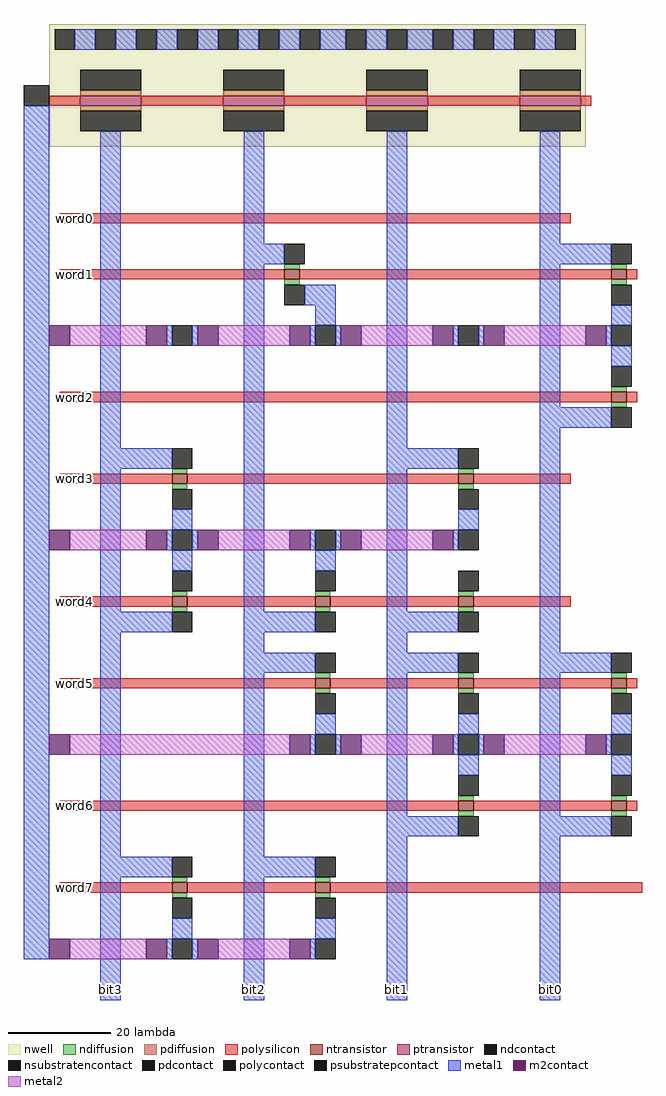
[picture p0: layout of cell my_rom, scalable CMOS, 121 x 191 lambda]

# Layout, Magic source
magic
tech scmos
<< nwell >>
rect -31 -1 74 23
<< polysilicon >>
rect -31 7 -25 9
rect -13 7 3 9
rect 15 7 31 9
rect 43 7 61 9
rect 73 7 75 9
rect -29 -16 71 -14
rect -29 -27 15 -25
rect 18 -27 79 -25
rect 82 -27 84 -25
rect -29 -51 79 -49
rect 82 -51 84 -49
rect -29 -67 -7 -65
rect -4 -67 49 -65
rect 52 -67 71 -65
rect -29 -91 -7 -89
rect -4 -91 21 -89
rect 24 -91 49 -89
rect 52 -91 71 -89
rect -29 -107 21 -105
rect 24 -107 49 -105
rect 52 -107 79 -105
rect 82 -107 84 -105
rect -29 -131 49 -129
rect 52 -131 79 -129
rect 82 -131 84 -129
rect -29 -147 -7 -145
rect -4 -147 21 -145
rect 24 -147 85 -145
<< ndiffusion >>
rect 15 -25 18 -24
rect 79 -25 82 -24
rect 15 -28 18 -27
rect 79 -28 82 -27
rect 79 -49 82 -48
rect 79 -52 82 -51
rect -7 -65 -4 -64
rect 49 -65 52 -64
rect -7 -68 -4 -67
rect 49 -68 52 -67
rect -7 -89 -4 -88
rect 21 -89 24 -88
rect 49 -89 52 -88
rect -7 -92 -4 -91
rect 21 -92 24 -91
rect 49 -92 52 -91
rect 21 -105 24 -104
rect 49 -105 52 -104
rect 79 -105 82 -104
rect 21 -108 24 -107
rect 49 -108 52 -107
rect 79 -108 82 -107
rect 49 -129 52 -128
rect 79 -129 82 -128
rect 49 -132 52 -131
rect 79 -132 82 -131
rect -7 -145 -4 -144
rect 21 -145 24 -144
rect -7 -148 -4 -147
rect 21 -148 24 -147
<< pdiffusion >>
rect -25 9 -13 10
rect 3 9 15 10
rect 31 9 43 10
rect 61 9 73 10
rect -25 6 -13 7
rect 3 6 15 7
rect 31 6 43 7
rect 61 6 73 7
<< metal1 >>
rect -26 18 -22 22
rect -18 18 -14 22
rect -10 18 -6 22
rect -2 18 2 22
rect 6 18 10 22
rect 14 18 18 22
rect 22 18 27 22
rect 31 18 35 22
rect 39 18 44 22
rect 48 18 52 22
rect 56 18 60 22
rect 64 18 68 22
rect -36 -160 -31 7
rect -21 -60 -17 2
rect 7 -20 11 2
rect 7 -24 15 -20
rect -8 -40 -7 -36
rect -3 -40 -2 -36
rect -21 -64 -7 -60
rect -21 -92 -17 -64
rect -7 -76 -3 -72
rect -8 -80 -7 -76
rect -3 -80 -2 -76
rect -7 -84 -3 -80
rect 7 -92 11 -24
rect 19 -32 25 -28
rect 21 -36 25 -32
rect 20 -40 21 -36
rect 25 -40 26 -36
rect 35 -60 39 2
rect 65 -20 69 2
rect 65 -24 79 -20
rect 48 -40 49 -36
rect 53 -40 54 -36
rect 65 -52 69 -24
rect 79 -36 83 -32
rect 78 -40 79 -36
rect 79 -44 83 -40
rect 65 -56 79 -52
rect 35 -64 49 -60
rect 20 -80 21 -76
rect 25 -80 26 -76
rect 21 -84 25 -80
rect 35 -92 39 -64
rect 49 -76 53 -72
rect 48 -80 49 -76
rect -21 -96 -7 -92
rect 7 -96 21 -92
rect 35 -96 49 -92
rect -21 -140 -17 -96
rect 7 -100 11 -96
rect 35 -100 39 -96
rect 65 -100 69 -56
rect 7 -104 21 -100
rect 35 -104 49 -100
rect 65 -104 79 -100
rect 7 -140 11 -104
rect 21 -116 25 -112
rect 20 -120 21 -116
rect 25 -120 26 -116
rect 35 -132 39 -104
rect 49 -116 53 -112
rect 48 -120 49 -116
rect 53 -120 54 -116
rect 49 -124 53 -120
rect 65 -132 69 -104
rect 79 -116 83 -112
rect 78 -120 79 -116
rect 79 -124 83 -120
rect 35 -136 49 -132
rect 65 -136 79 -132
rect -21 -144 -7 -140
rect 7 -144 21 -140
rect -21 -168 -17 -144
rect -7 -156 -3 -152
rect -8 -160 -7 -156
rect -3 -160 -2 -156
rect 7 -168 11 -144
rect 21 -156 25 -152
rect 20 -160 21 -156
rect 35 -168 39 -136
rect 65 -168 69 -136
<< metal2 >>
rect -27 -40 -12 -36
rect 2 -40 16 -36
rect 30 -40 44 -36
rect 58 -40 74 -36
rect -27 -80 -12 -76
rect 2 -80 16 -76
rect 30 -80 44 -76
rect -27 -120 16 -116
rect 30 -120 44 -116
rect 58 -120 74 -116
rect -27 -160 -12 -156
rect 2 -160 16 -156
<< ntransistor >>
rect 15 -27 18 -25
rect 79 -27 82 -25
rect 79 -51 82 -49
rect -7 -67 -4 -65
rect 49 -67 52 -65
rect -7 -91 -4 -89
rect 21 -91 24 -89
rect 49 -91 52 -89
rect 21 -107 24 -105
rect 49 -107 52 -105
rect 79 -107 82 -105
rect 49 -131 52 -129
rect 79 -131 82 -129
rect -7 -147 -4 -145
rect 21 -147 24 -145
<< ptransistor >>
rect -25 7 -13 9
rect 3 7 15 9
rect 31 7 43 9
rect 61 7 73 9
<< polycontact >>
rect -36 7 -31 11
<< ndcontact >>
rect 15 -24 19 -20
rect 79 -24 83 -20
rect 15 -32 19 -28
rect 79 -32 83 -28
rect 79 -48 83 -44
rect 79 -56 83 -52
rect -7 -64 -3 -60
rect 49 -64 53 -60
rect -7 -72 -3 -68
rect 49 -72 53 -68
rect -7 -88 -3 -84
rect 21 -88 25 -84
rect 49 -88 53 -84
rect -7 -96 -3 -92
rect 21 -96 25 -92
rect 49 -96 53 -92
rect 21 -104 25 -100
rect 49 -104 53 -100
rect 79 -104 83 -100
rect 21 -112 25 -108
rect 49 -112 53 -108
rect 79 -112 83 -108
rect 49 -128 53 -124
rect 79 -128 83 -124
rect 49 -136 53 -132
rect 79 -136 83 -132
rect -7 -144 -3 -140
rect 21 -144 25 -140
rect -7 -152 -3 -148
rect 21 -152 25 -148
<< pdcontact >>
rect -25 10 -13 14
rect 3 10 15 14
rect 31 10 43 14
rect 61 10 73 14
rect -25 2 -13 6
rect 3 2 15 6
rect 31 2 43 6
rect 61 2 73 6
<< m2contact >>
rect -31 -40 -27 -36
rect -12 -40 -8 -36
rect -2 -40 2 -36
rect -31 -80 -27 -76
rect -12 -80 -8 -76
rect -2 -80 2 -76
rect 16 -40 20 -36
rect 26 -40 30 -36
rect 44 -40 48 -36
rect 54 -40 58 -36
rect 74 -40 78 -36
rect 16 -80 20 -76
rect 26 -80 30 -76
rect 44 -80 48 -76
rect -31 -120 -27 -116
rect 16 -120 20 -116
rect 26 -120 30 -116
rect 44 -120 48 -116
rect 54 -120 58 -116
rect 74 -120 78 -116
rect -31 -160 -27 -156
rect -12 -160 -8 -156
rect -2 -160 2 -156
rect 16 -160 20 -156
<< psubstratepcontact >>
rect -7 -40 -3 -36
rect 21 -40 25 -36
rect 49 -40 53 -36
rect 79 -40 83 -36
rect -7 -80 -3 -76
rect 21 -80 25 -76
rect 49 -80 53 -76
rect 21 -120 25 -116
rect 49 -120 53 -116
rect 79 -120 83 -116
rect -7 -160 -3 -156
rect 21 -160 25 -156
<< nsubstratencontact >>
rect -30 18 -26 22
rect -22 18 -18 22
rect -14 18 -10 22
rect -6 18 -2 22
rect 2 18 6 22
rect 10 18 14 22
rect 18 18 22 22
rect 27 18 31 22
rect 35 18 39 22
rect 44 18 48 22
rect 52 18 56 22
rect 60 18 64 22
rect 68 18 72 22
<< labels >>
rlabel polysilicon -29 -16 -23 -14 0 word0
rlabel polysilicon -29 -27 -23 -25 0 word1
rlabel polysilicon -29 -51 -23 -49 0 word2
rlabel polysilicon -29 -67 -23 -65 0 word3
rlabel polysilicon -29 -91 -23 -89 0 word4
rlabel polysilicon -29 -107 -23 -105 0 word5
rlabel polysilicon -29 -131 -23 -129 0 word6
rlabel polysilicon -29 -147 -23 -145 0 word7
rlabel metal1 65 -168 69 -164 0 bit0
rlabel metal1 35 -168 39 -164 0 bit1
rlabel metal1 7 -168 11 -164 0 bit2
rlabel metal1 -21 -168 -17 -164 0 bit3
<< end >>
